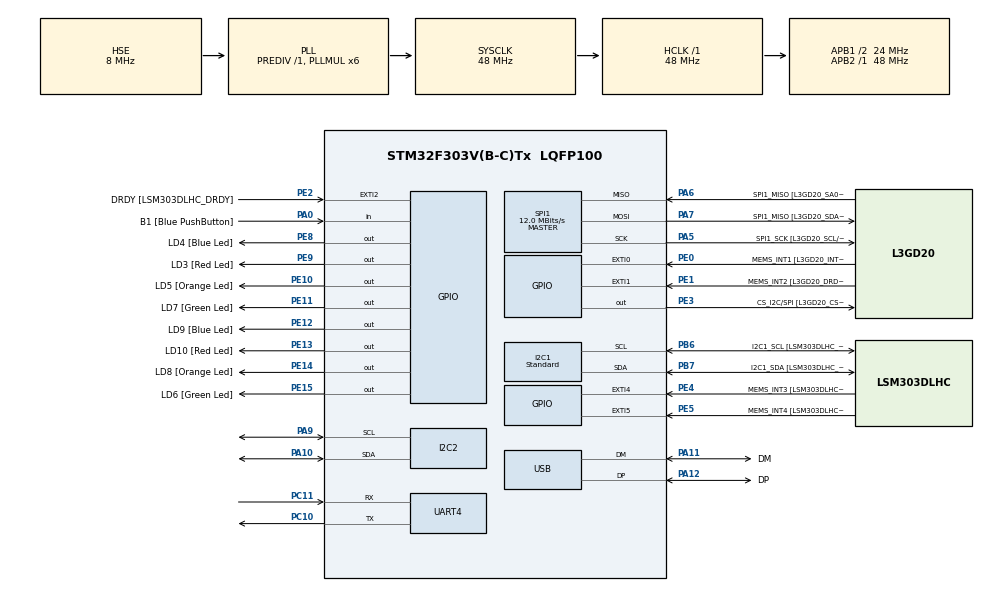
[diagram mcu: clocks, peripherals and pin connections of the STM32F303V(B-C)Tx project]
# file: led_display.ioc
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I2C1.Analog_Filter=I2C_ANALOGFILTER_DISABLE
I2C1.I2C_Speed_Mode=I2C_Standard
I2C1.Timing=0x00101D2D
I2C1.Timing-I2C=0x2000090E
Mcu.Family=STM32F3
Mcu.Name=STM32F303V(B-C)Tx
Mcu.Package=LQFP100
NVIC.PriorityGroup=NVIC_PRIORITYGROUP_0
PA0.GPIO_Label=B1 [Blue PushButton]
PA0.Signal=GPIO_Input
PA10.GPIO_Speed=GPIO_SPEED_FREQ_LOW
PA10.Mode=I2C
PA10.Signal=I2C2_SDA
PA11.GPIO_Label=DM
PA11.Mode=Device
PA11.Signal=USB_DM
PA12.GPIO_Label=DP
PA12.Mode=Device
PA12.Signal=USB_DP
PA13.GPIO_Label=SWDIO
PA13.Mode=Serial_Wire
PA13.Signal=SYS_JTMS-SWDIO
PA14.GPIO_Label=SWCLK
PA14.Mode=Serial_Wire
PA14.Signal=SYS_JTCK-SWCLK
PA5.GPIO_Label=SPI1_SCK [L3GD20_SCL/SPC]
PA5.Mode=Full_Duplex_Master
PA5.Signal=SPI1_SCK
PA6.GPIO_Label=SPI1_MISO [L3GD20_SA0/SDO]
PA6.Mode=Full_Duplex_Master
PA6.Signal=SPI1_MISO
PA7.GPIO_Label=SPI1_MISO [L3GD20_SDA/SDI/SDO]
PA7.Mode=Full_Duplex_Master
PA7.Signal=SPI1_MOSI
PA9.GPIO_Speed=GPIO_SPEED_FREQ_LOW
PA9.Mode=I2C
PA9.Signal=I2C2_SCL
PB3.GPIO_Label=SWO
PB3.Signal=SYS_JTDO-TRACESWO
PB6.GPIO_Label=I2C1_SCL [LSM303DLHC_SCL]
PB6.GPIO_Pu=GPIO_PULLUP
PB6.Mode=I2C
PB6.Signal=I2C1_SCL
PB7.GPIO_Label=I2C1_SDA [LSM303DLHC_SDA]
PB7.GPIO_Pu=GPIO_PULLUP
PB7.Mode=I2C
PB7.Signal=I2C1_SDA
PC10.Mode=Asynchronous
PC10.Signal=UART4_TX
PC11.Mode=Asynchronous
PC11.Signal=UART4_RX
PC14-OSC32_IN.GPIO_Label=OSC32_IN
PC14-OSC32_IN.Signal=RCC_OSC32_IN
PC15-OSC32_OUT.GPIO_Label=OSC32_OUT
PC15-OSC32_OUT.Signal=RCC_OSC32_OUT
PE0.GPIO_Label=MEMS_INT1 [L3GD20_INT1]
PE0.GPIO_ModeDefaultEXTI=GPIO_MODE_EVT_RISING
PE0.Signal=GPXTI0
PE1.GPIO_Label=MEMS_INT2 [L3GD20_DRDY/INT2]
PE1.GPIO_ModeDefaultEXTI=GPIO_MODE_EVT_RISING
PE1.Signal=GPXTI1
PE10.GPIO_Label=LD5 [Orange Led]
PE10.Signal=GPIO_Output
PE11.GPIO_Label=LD7 [Green Led]
PE11.Signal=GPIO_Output
PE12.GPIO_Label=LD9 [Blue Led]
PE12.Signal=GPIO_Output
PE13.GPIO_Label=LD10 [Red Led]
PE13.Signal=GPIO_Output
PE14.GPIO_Label=LD8 [Orange Led]
PE14.Signal=GPIO_Output
PE15.GPIO_Label=LD6 [Green Led]
PE15.Signal=GPIO_Output
PE2.GPIO_Label=DRDY [LSM303DLHC_DRDY]
PE2.GPIO_ModeDefaultEXTI=GPIO_MODE_EVT_RISING
PE2.Signal=GPXTI2
PE3.GPIO_Label=CS_I2C/SPI [L3GD20_CS_I2C/SPI]
PE3.Signal=GPIO_Output
PE4.GPIO_Label=MEMS_INT3 [LSM303DLHC_INT1]
PE4.GPIO_ModeDefaultEXTI=GPIO_MODE_EVT_RISING
PE4.Signal=GPXTI4
PE5.GPIO_Label=MEMS_INT4 [LSM303DLHC_INT2]
PE5.GPIO_ModeDefaultEXTI=GPIO_MODE_EVT_RISING
PE5.Signal=GPXTI5
PE8.GPIO_Label=LD4 [Blue Led]
PE8.Signal=GPIO_Output
PE9.GPIO_Label=LD3 [Red Led]
PE9.Signal=GPIO_Output
PF0-OSC_IN.GPIO_Label=OSC_IN
PF0-OSC_IN.Mode=HSE-External-Clock-Source
PF0-OSC_IN.Signal=RCC_OSC_IN
PF1-OSC_OUT.GPIO_Label=OSC_OUT
PF1-OSC_OUT.Signal=RCC_OSC_OUT
ProjectManager.HeapSize=0x200
ProjectManager.StackSize=0x400
ProjectManager.TargetToolchain=STM32CubeIDE
RCC.AHBFreq_Value=48000000
RCC.APB1CLKDivider=RCC_HCLK_DIV2
RCC.APB1Freq_Value=24000000
RCC.APB1TimFreq_Value=48000000
RCC.APB2Freq_Value=48000000
RCC.APB2TimFreq_Value=48000000
RCC.CortexFreq_Value=48000000
RCC.HCLKFreq_Value=48000000
RCC.HSE_VALUE=8000000
RCC.HSI_VALUE=8000000
RCC.LSE_VALUE=32768
RCC.PLLMUL=RCC_PLL_MUL6
RCC.SYSCLKFreq_VALUE=48000000
RCC.SYSCLKSourceVirtual=RCC_SYSCLKSOURCE_PLLCLK
RCC.USBFreq_Value=48000000
SPI1.BaudRatePrescaler=SPI_BAUDRATEPRESCALER_4
SPI1.BaudRatePrescaler-Full_Duplex_Master=SPI_BAUDRATEPRESCALER_2
SPI1.CalculateBaudRate=12.0 MBits/s
SPI1.CalculateBaudRate-Full_Duplex_Master=24.0 MBits/s
SPI1.Direction=SPI_DIRECTION_2LINES
SPI1.Mode=SPI_MODE_MASTER
SPI1.Mode-Full_Duplex_Master=SPI_MODE_MASTER
SPI1.VirtualType=VM_MASTER
board=STM32F3DISCOVERY

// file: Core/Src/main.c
/* USER CODE BEGIN Header */
/**
  ******************************************************************************
  * @file           : main.c
  * @brief          : Main program body
  ******************************************************************************
  * @attention
  *
  * Copyright (c) 2023 STMicroelectronics.
  * All rights reserved.
  *
  * This software is licensed under terms that can be found in the LICENSE file
  * in the root directory of this software component.
  * If no LICENSE file comes with this software, it is provided AS-IS.
  *
  ******************************************************************************
  */
/* USER CODE END Header */
#include "main.h"

I2C_HandleTypeDef hi2c1;
I2C_HandleTypeDef hi2c2;

SPI_HandleTypeDef hspi1;

UART_HandleTypeDef huart4;

PCD_HandleTypeDef hpcd_USB_FS;

void SystemClock_Config(void);
static void MX_GPIO_Init(void);
static void MX_I2C1_Init(void);
static void MX_SPI1_Init(void);
static void MX_USB_PCD_Init(void);
static void MX_UART4_Init(void);
static void MX_I2C2_Init(void);

/* USER CODE BEGIN 0 */
#define LCD_ADDR (0x27 << 1)

#define PIN_RS    (1 << 0)
#define PIN_EN    (1 << 2)
#define BACKLIGHT (0 << 3)

#define LCD_DELAY_MS 5

void I2C_Scan() {
    char info[] = "Scanning I2C bus...\r\n";
    HAL_UART_Transmit(&huart4, (uint8_t*)info, strlen(info), HAL_MAX_DELAY);

    HAL_StatusTypeDef res;
    for(uint16_t i = 0; i < 128; i++) {
        res = HAL_I2C_IsDeviceReady(&hi2c2, i << 1, 1, 10);
        if(res == HAL_OK) {
            char msg[64];
            snprintf(msg, sizeof(msg), "0x%02X", i);
            HAL_UART_Transmit(&huart4, (uint8_t*)msg, strlen(msg), HAL_MAX_DELAY);
        } else {
            HAL_UART_Transmit(&huart4, (uint8_t*)".", 1, HAL_MAX_DELAY);
        }
    }

    HAL_UART_Transmit(&huart4, (uint8_t*)"\r\n", 2, HAL_MAX_DELAY);
}

HAL_StatusTypeDef LCD_SendInternal(uint8_t lcd_addr, uint8_t data, uint8_t flags) {
    HAL_StatusTypeDef res;
    for(;;) {
        res = HAL_I2C_IsDeviceReady(&hi2c2, lcd_addr, 1, HAL_MAX_DELAY);
        if(res == HAL_OK)
            break;
    }

    uint8_t up = data & 0xF0;
    uint8_t lo = (data << 4) & 0xF0;

    uint8_t data_arr[4];
    data_arr[0] = up|flags|BACKLIGHT|PIN_EN;
    data_arr[1] = up|flags|BACKLIGHT;
    data_arr[2] = lo|flags|BACKLIGHT|PIN_EN;
    data_arr[3] = lo|flags|BACKLIGHT;

    res = HAL_I2C_Master_Transmit(&hi2c2, lcd_addr, data_arr, sizeof(data_arr), HAL_MAX_DELAY);
    HAL_Delay(LCD_DELAY_MS);
    return res;
}

void LCD_SendCommand(uint8_t lcd_addr, uint8_t cmd) {
    LCD_SendInternal(lcd_addr, cmd, 0);
}

void LCD_SendData(uint8_t lcd_addr, uint8_t data) {
    LCD_SendInternal(lcd_addr, data, PIN_RS);
}
void LCD_Init(uint8_t lcd_addr) {
    // 4-bit mode, 2 lines, 5x7 format
    LCD_SendCommand(lcd_addr, 0b00110000);
    // display & cursor home (keep this!)
    LCD_SendCommand(lcd_addr, 0b00000010);
    // display on, right shift, underline off, blink off
    LCD_SendCommand(lcd_addr, 0b00001100);
    // clear display (optional here)
    //LCD_SendCommand(lcd_addr, 0b00000001);
}

void LCD_SendString(uint8_t lcd_addr, char *str) {
    while(*str) {
        LCD_SendData(lcd_addr, (uint8_t)(*str));
        str++;
    }
}

void init() {
    I2C_Scan();
    LCD_Init(LCD_ADDR);

    // set address to 0x00
    LCD_SendCommand(LCD_ADDR, 0b10000000);
    LCD_SendString(LCD_ADDR, "       My");

    // set address to 0x40
    LCD_SendCommand(LCD_ADDR, 0b11000000);
    LCD_SendString(LCD_ADDR, "      project");
}

void loop() {
    HAL_Delay(100);
}

/* USER CODE END 0 */

int main(void)
{

  /* MCU Configuration--------------------------------------------------------*/

  /* Reset of all peripherals, Initializes the Flash interface and the Systick. */
  HAL_Init();

  /* Configure the system clock */
  SystemClock_Config();

  /* Initialize all configured peripherals */
  MX_GPIO_Init();
  MX_I2C1_Init();
  MX_SPI1_Init();
  MX_USB_PCD_Init();
  MX_UART4_Init();
  MX_I2C2_Init();

  /* Infinite loop */
  /* USER CODE BEGIN WHILE */
   init();
  while (1)
  {
    /* USER CODE END WHILE */

  }
}

void SystemClock_Config(void)
{
  RCC_OscInitTypeDef RCC_OscInitStruct = {0};
  RCC_ClkInitTypeDef RCC_ClkInitStruct = {0};
  RCC_PeriphCLKInitTypeDef PeriphClkInit = {0};

  /** Initializes the RCC Oscillators according to the specified parameters
  * in the RCC_OscInitTypeDef structure.
  */
  RCC_OscInitStruct.OscillatorType = RCC_OSCILLATORTYPE_HSI|RCC_OSCILLATORTYPE_HSE;
  RCC_OscInitStruct.HSEState = RCC_HSE_BYPASS;
  RCC_OscInitStruct.HSEPredivValue = RCC_HSE_PREDIV_DIV1;
  RCC_OscInitStruct.HSIState = RCC_HSI_ON;
  RCC_OscInitStruct.HSICalibrationValue = RCC_HSICALIBRATION_DEFAULT;
  RCC_OscInitStruct.PLL.PLLState = RCC_PLL_ON;
  RCC_OscInitStruct.PLL.PLLSource = RCC_PLLSOURCE_HSE;
  RCC_OscInitStruct.PLL.PLLMUL = RCC_PLL_MUL6;
  if (HAL_RCC_OscConfig(&RCC_OscInitStruct) != HAL_OK)
  {
    Error_Handler();
  }

  /** Initializes the CPU, AHB and APB buses clocks
  */
  RCC_ClkInitStruct.ClockType = RCC_CLOCKTYPE_HCLK|RCC_CLOCKTYPE_SYSCLK
                              |RCC_CLOCKTYPE_PCLK1|RCC_CLOCKTYPE_PCLK2;
  RCC_ClkInitStruct.SYSCLKSource = RCC_SYSCLKSOURCE_PLLCLK;
  RCC_ClkInitStruct.AHBCLKDivider = RCC_SYSCLK_DIV1;
  RCC_ClkInitStruct.APB1CLKDivider = RCC_HCLK_DIV2;
  RCC_ClkInitStruct.APB2CLKDivider = RCC_HCLK_DIV1;

  if (HAL_RCC_ClockConfig(&RCC_ClkInitStruct, FLASH_LATENCY_1) != HAL_OK)
  {
    Error_Handler();
  }
  PeriphClkInit.PeriphClockSelection = RCC_PERIPHCLK_USB|RCC_PERIPHCLK_UART4
                              |RCC_PERIPHCLK_I2C1|RCC_PERIPHCLK_I2C2;
  PeriphClkInit.Uart4ClockSelection = RCC_UART4CLKSOURCE_PCLK1;
  PeriphClkInit.I2c1ClockSelection = RCC_I2C1CLKSOURCE_HSI;
  PeriphClkInit.I2c2ClockSelection = RCC_I2C2CLKSOURCE_HSI;
  PeriphClkInit.USBClockSelection = RCC_USBCLKSOURCE_PLL;
  if (HAL_RCCEx_PeriphCLKConfig(&PeriphClkInit) != HAL_OK)
  {
    Error_Handler();
  }
}

static void MX_I2C1_Init(void)
{

  hi2c1.Instance = I2C1;
  hi2c1.Init.Timing = 0x00101D2D;
  hi2c1.Init.OwnAddress1 = 0;
  hi2c1.Init.AddressingMode = I2C_ADDRESSINGMODE_7BIT;
  hi2c1.Init.DualAddressMode = I2C_DUALADDRESS_DISABLE;
  hi2c1.Init.OwnAddress2 = 0;
  hi2c1.Init.OwnAddress2Masks = I2C_OA2_NOMASK;
  hi2c1.Init.GeneralCallMode = I2C_GENERALCALL_DISABLE;
  hi2c1.Init.NoStretchMode = I2C_NOSTRETCH_DISABLE;
  if (HAL_I2C_Init(&hi2c1) != HAL_OK)
  {
    Error_Handler();
  }

  /** Configure Analogue filter
  */
  if (HAL_I2CEx_ConfigAnalogFilter(&hi2c1, I2C_ANALOGFILTER_DISABLE) != HAL_OK)
  {
    Error_Handler();
  }

  /** Configure Digital filter
  */
  if (HAL_I2CEx_ConfigDigitalFilter(&hi2c1, 0) != HAL_OK)
  {
    Error_Handler();
  }

}

static void MX_I2C2_Init(void)
{

  hi2c2.Instance = I2C2;
  hi2c2.Init.Timing = 0x2000090E;
  hi2c2.Init.OwnAddress1 = 0;
  hi2c2.Init.AddressingMode = I2C_ADDRESSINGMODE_7BIT;
  hi2c2.Init.DualAddressMode = I2C_DUALADDRESS_DISABLE;
  hi2c2.Init.OwnAddress2 = 0;
  hi2c2.Init.OwnAddress2Masks = I2C_OA2_NOMASK;
  hi2c2.Init.GeneralCallMode = I2C_GENERALCALL_DISABLE;
  hi2c2.Init.NoStretchMode = I2C_NOSTRETCH_DISABLE;
  if (HAL_I2C_Init(&hi2c2) != HAL_OK)
  {
    Error_Handler();
  }

  /** Configure Analogue filter
  */
  if (HAL_I2CEx_ConfigAnalogFilter(&hi2c2, I2C_ANALOGFILTER_ENABLE) != HAL_OK)
  {
    Error_Handler();
  }

  /** Configure Digital filter
  */
  if (HAL_I2CEx_ConfigDigitalFilter(&hi2c2, 0) != HAL_OK)
  {
    Error_Handler();
  }

}

static void MX_SPI1_Init(void)
{

  /* SPI1 parameter configuration*/
  hspi1.Instance = SPI1;
  hspi1.Init.Mode = SPI_MODE_MASTER;
  hspi1.Init.Direction = SPI_DIRECTION_2LINES;
  hspi1.Init.DataSize = SPI_DATASIZE_4BIT;
  hspi1.Init.CLKPolarity = SPI_POLARITY_LOW;
  hspi1.Init.CLKPhase = SPI_PHASE_1EDGE;
  hspi1.Init.NSS = SPI_NSS_SOFT;
  hspi1.Init.BaudRatePrescaler = SPI_BAUDRATEPRESCALER_4;
  hspi1.Init.FirstBit = SPI_FIRSTBIT_MSB;
  hspi1.Init.TIMode = SPI_TIMODE_DISABLE;
  hspi1.Init.CRCCalculation = SPI_CRCCALCULATION_DISABLE;
  hspi1.Init.CRCPolynomial = 7;
  hspi1.Init.CRCLength = SPI_CRC_LENGTH_DATASIZE;
  hspi1.Init.NSSPMode = SPI_NSS_PULSE_ENABLE;
  if (HAL_SPI_Init(&hspi1) != HAL_OK)
  {
    Error_Handler();
  }

}

static void MX_UART4_Init(void)
{

  huart4.Instance = UART4;
  huart4.Init.BaudRate = 115200;
  huart4.Init.WordLength = UART_WORDLENGTH_8B;
  huart4.Init.StopBits = UART_STOPBITS_1;
  huart4.Init.Parity = UART_PARITY_NONE;
  huart4.Init.Mode = UART_MODE_TX_RX;
  huart4.Init.HwFlowCtl = UART_HWCONTROL_NONE;
  huart4.Init.OverSampling = UART_OVERSAMPLING_16;
  huart4.Init.OneBitSampling = UART_ONE_BIT_SAMPLE_DISABLE;
  huart4.AdvancedInit.AdvFeatureInit = UART_ADVFEATURE_NO_INIT;
  if (HAL_UART_Init(&huart4) != HAL_OK)
  {
    Error_Handler();
  }

}

static void MX_USB_PCD_Init(void)
{

  hpcd_USB_FS.Instance = USB;
  hpcd_USB_FS.Init.dev_endpoints = 8;
  hpcd_USB_FS.Init.speed = PCD_SPEED_FULL;
  hpcd_USB_FS.Init.phy_itface = PCD_PHY_EMBEDDED;
  hpcd_USB_FS.Init.low_power_enable = DISABLE;
  hpcd_USB_FS.Init.battery_charging_enable = DISABLE;
  if (HAL_PCD_Init(&hpcd_USB_FS) != HAL_OK)
  {
    Error_Handler();
  }

}

static void MX_GPIO_Init(void)
{
  GPIO_InitTypeDef GPIO_InitStruct = {0};

  /* GPIO Ports Clock Enable */
  __HAL_RCC_GPIOE_CLK_ENABLE();
  __HAL_RCC_GPIOC_CLK_ENABLE();
  __HAL_RCC_GPIOF_CLK_ENABLE();
  __HAL_RCC_GPIOA_CLK_ENABLE();
  __HAL_RCC_GPIOB_CLK_ENABLE();

  /*Configure GPIO pin Output Level */
  HAL_GPIO_WritePin(GPIOE, CS_I2C_SPI_Pin|LD4_Pin|LD3_Pin|LD5_Pin
                          |LD7_Pin|LD9_Pin|LD10_Pin|LD8_Pin
                          |LD6_Pin, GPIO_PIN_RESET);

  /*Configure GPIO pins : DRDY_Pin MEMS_INT3_Pin MEMS_INT4_Pin MEMS_INT1_Pin
                           MEMS_INT2_Pin */
  GPIO_InitStruct.Pin = DRDY_Pin|MEMS_INT3_Pin|MEMS_INT4_Pin|MEMS_INT1_Pin
                          |MEMS_INT2_Pin;
  GPIO_InitStruct.Mode = GPIO_MODE_EVT_RISING;
  GPIO_InitStruct.Pull = GPIO_NOPULL;
  HAL_GPIO_Init(GPIOE, &GPIO_InitStruct);

  /*Configure GPIO pins : CS_I2C_SPI_Pin LD4_Pin LD3_Pin LD5_Pin
                           LD7_Pin LD9_Pin LD10_Pin LD8_Pin
                           LD6_Pin */
  GPIO_InitStruct.Pin = CS_I2C_SPI_Pin|LD4_Pin|LD3_Pin|LD5_Pin
                          |LD7_Pin|LD9_Pin|LD10_Pin|LD8_Pin
                          |LD6_Pin;
  GPIO_InitStruct.Mode = GPIO_MODE_OUTPUT_PP;
  GPIO_InitStruct.Pull = GPIO_NOPULL;
  GPIO_InitStruct.Speed = GPIO_SPEED_FREQ_LOW;
  HAL_GPIO_Init(GPIOE, &GPIO_InitStruct);

  /*Configure GPIO pin : B1_Pin */
  GPIO_InitStruct.Pin = B1_Pin;
  GPIO_InitStruct.Mode = GPIO_MODE_INPUT;
  GPIO_InitStruct.Pull = GPIO_NOPULL;
  HAL_GPIO_Init(B1_GPIO_Port, &GPIO_InitStruct);

}

void Error_Handler(void)
{
  __disable_irq();
  while (1)
  {
  }
}
